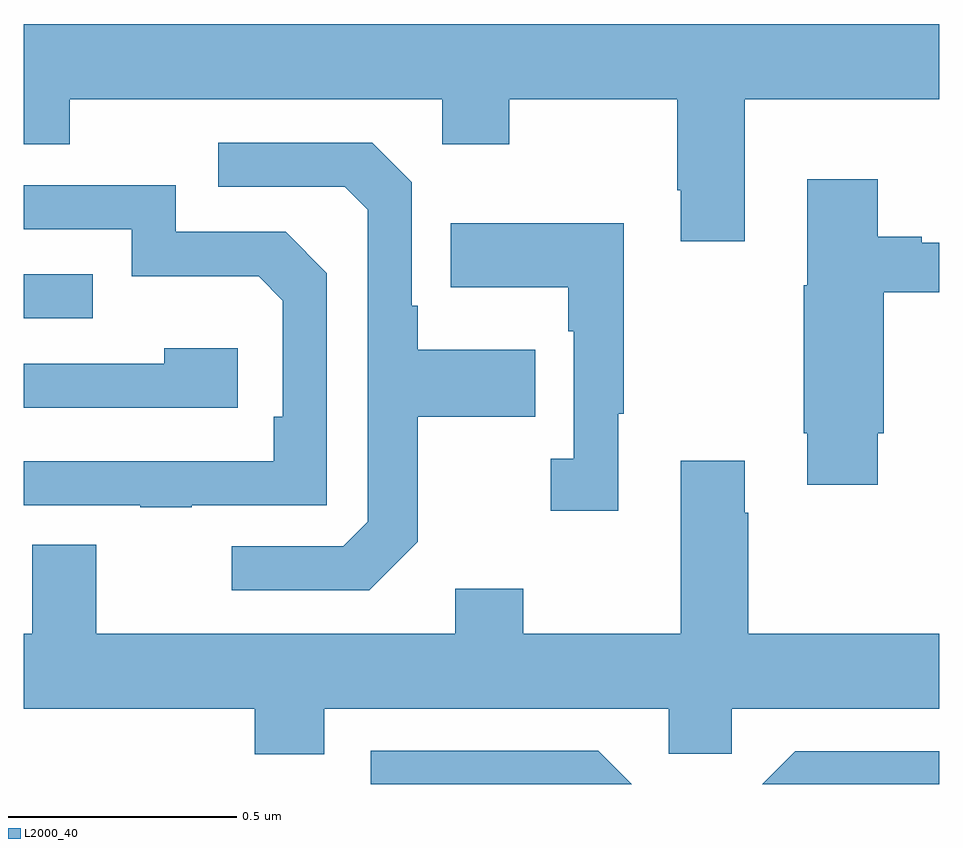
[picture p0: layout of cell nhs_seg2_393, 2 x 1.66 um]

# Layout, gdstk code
import gdstk
lib = gdstk.Library(unit=1e-6, precision=1e-09)
def R(c, l, rs):  # rectangles x0, y0, x1, y1
    for r in rs: c.add(gdstk.rectangle(r[:2], r[2:], *l))
def P(c, l, *ps):  # polygons
    for p in ps: c.add(gdstk.Polygon(p, *l))
L2000_40 = (2000, 40)

nhs_seg2_393 = lib.new_cell('nhs_seg2_393')
R(nhs_seg2_393, L2000_40, [(115,653.817,115.151,653.913)])
P(nhs_seg2_393, L2000_40, [(116.575,654.296),(117,654.296),(117,654.46),(115,654.46),(115,654.197),(115.101,654.197),(115.101,654.296),(115.914,654.296),(115.914,654.197),(116.061,654.197),(116.061,654.296),(116.428,654.296),(116.428,654.097),(116.435,654.097),(116.435,653.985),(116.575,653.985)],
  [(115.861,653.329),(115.861,653.602),(116.117,653.602),(116.117,653.749),(115.861,653.749),(115.861,653.845),(115.848,653.845),(115.848,654.114),(115.761,654.201),(115.425,654.201),(115.425,654.105),(115.701,654.105),(115.752,654.054),(115.752,653.373),(115.698,653.319),(115.455,653.319),(115.455,653.223),(115.755,653.223)],
  [(116.866,653.566),(116.879,653.566),(116.879,653.874),(117,653.874),(117,653.982),(116.962,653.982),(116.962,653.995),(116.866,653.995),(116.866,654.121),(116.711,654.121),(116.711,653.889),(116.704,653.889),(116.704,653.566),(116.711,653.566),(116.711,653.454),(116.866,653.454)],
  [(115.367,653.409),(115.662,653.409),(115.662,653.916),(115.572,654.006),(115.332,654.006),(115.332,654.108),(115,654.108),(115,654.012),(115.236,654.012),(115.236,653.909),(115.513,653.909),(115.566,653.856),(115.566,653.602),(115.546,653.602),(115.546,653.505),(115,653.505),(115,653.409),(115.255,653.409),(115.255,653.404),(115.367,653.404)],
  [(116.299,653.609),(116.311,653.609),(116.311,654.025),(115.933,654.025),(115.933,653.885),(116.19,653.885),(116.19,653.789),(116.202,653.789),(116.202,653.51),(116.151,653.51),(116.151,653.397),(116.299,653.397)],
  [(115.468,653.752),(115.307,653.752),(115.307,653.718),(115,653.718),(115,653.622),(115.468,653.622)],
  [(115.657,652.964),(116.409,652.964),(116.409,652.866),(116.547,652.866),(116.547,652.964),(117,652.964),(117,653.128),(116.583,653.128),(116.583,653.393),(116.575,653.393),(116.575,653.506),(116.435,653.506),(116.435,653.128),(116.091,653.128),(116.091,653.227),(115.943,653.227),(115.943,653.128),(115.159,653.128),(115.159,653.323),(115.019,653.323),(115.019,653.128),(115,653.128),(115,652.964),(115.505,652.964),(115.505,652.865),(115.657,652.865)],
  [(116.255,652.873),(115.758,652.873),(115.758,652.8),(116.328,652.8)],
  [(117,652.872),(116.685,652.872),(116.613,652.8),(117,652.8)])

lib.write_gds('nhs_seg2_393.gds')
